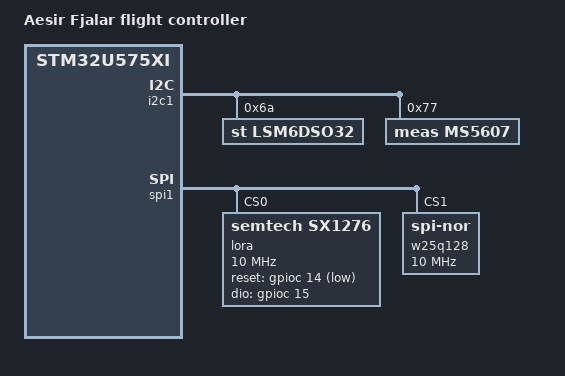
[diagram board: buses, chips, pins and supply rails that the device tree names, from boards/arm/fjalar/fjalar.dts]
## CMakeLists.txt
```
cmake_minimum_required(VERSION 3.20.0)

set(BOARD_ROOT ${CMAKE_CURRENT_LIST_DIR})
list(APPEND EXTRA_ZEPHYR_MODULES
  ${CMAKE_CURRENT_SOURCE_DIR}/modules/dummysensor
  )

find_package(Zephyr REQUIRED HINTS $ENV{ZEPHYR_BASE})
add_subdirectory(lib)

project(fjalar)
target_sources(app PRIVATE
    src/flight_state.c
    src/sensors.c
    src/telecommand.c
    src/telemetry.c
    src/actuation.c
    src/main.c
    src/filter.c
)

# target_link_libraries(app filter) # This line is important to specify MyLib is used by app
```

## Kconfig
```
menu "Zephyr"
source "Kconfig.zephyr"
endmenu

config APP_LOG_LEVEL
    int "Application log level"
    depends on LOG
```

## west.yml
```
manifest:
  remotes:
    - name: zephyrproject-rtos
      url-base: https://github.com/zephyrproject-rtos
  projects:
    - name: zephyr
      remote: zephyrproject-rtos
      revision: v3.4.0
      import: true
    - name: zscilib
      path: modules/lib/zscilib
      revision: 34c3432e81085bb717e4871d21ca419ae0058ec5
      import: true
```

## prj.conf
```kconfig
CONFIG_SENSOR=y

CONFIG_USB_DEVICE_STACK=y
CONFIG_USB_DEVICE_PRODUCT="Fjalar Log"
CONFIG_USB_DEVICE_PID=0x0004

CONFIG_POLL=y

CONFIG_FPU=y
CONFIG_FPU_SHARING=y

CONFIG_APP_LOG_LEVEL=3

CONFIG_ZSL=y
CONFIG_ZSL_SINGLE_PRECISION=y
CONFIG_ZSL_VECTOR_INLINE=y
CONFIG_ZSL_MATRIX_INLINE=y

CONFIG_APP_LOG_LEVEL=3
```

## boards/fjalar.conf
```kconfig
CONFIG_LOG=y
CONFIG_CBPRINTF_FP_SUPPORT=y

CONFIG_SERIAL=y
CONFIG_UART_INTERRUPT_DRIVEN=y
CONFIG_CONSOLE=y
CONFIG_UART_CONSOLE=y

CONFIG_I2C=y

CONFIG_GPIO=y

CONFIG_SENSOR=y
CONFIG_MS5607=y
CONFIG_MS5607_PRES_OVER_2048X=y
CONFIG_MS5607_TEMP_OVER_2048X=y

CONFIG_LSM6DSO=y

CONFIG_SPI=y
CONFIG_FLASH=y

CONFIG_PWM=y
```

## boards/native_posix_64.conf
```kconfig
CONFIG_LOG=y
CONFIG_CBPRINTF_FP_SUPPORT=y

CONFIG_SERIAL=y
CONFIG_CONSOLE=y
CONFIG_UART_CONSOLE=y

CONFIG_I2C=y

CONFIG_SENSOR=y

CONFIG_SPI=y
CONFIG_FLASH=y

CONFIG_DUMMYSENSOR=y

CONFIG_PWM=y

CONFIG_UART_NATIVE_POSIX=y
CONFIG_UART_NATIVE_POSIX_PORT_1_ENABLE=y
# CONFIG_NATIVE_UART_0_ON_OWN_PTY=y
CONFIG_NATIVE_UART_0_ON_STDINOUT=y
CONFIG_SYS_CLOCK_TICKS_PER_SEC=1000

CONFIG_DEBUG=y
CONFIG_DEBUG_OPTIMIZATIONS=y
```

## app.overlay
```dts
&lsm6dso32 {
    gyro-odr = <4>; //104Hz
    accel-odr = <4>; //104Hz
    accel-range = <1>; //16g
    gyro-range = <6>; //2000dps
    accel-pm = <0>; //high performance
    gyro-pm = <0>; //high performance
};
```

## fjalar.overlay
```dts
/ {
    chosen {
        zephyr,console = &cdc_acm_uart0;
        zephyr,shell = &cdc_acm_uart0;
    };

    aliases {
		io-led = &ioled;
        imu = &lsm6dso32;
        barometer = &ms5607;
		main-usb = &usbotg_fs;
		pyro0 = &pyro0;
		pyro1 = &pyro1;
		pyro2 = &pyro2;
		pyro0-sense = &pyro0_sense;
		pyro1-sense = &pyro1_sense;
		pyro2-sense = &pyro2_sense;
    };

    dummysensor: dummysensor {
        compatible = "aesir,dummysensor";
        status = "okay";
    };
};


&lsm6dso32 {
    gyro-odr = <4>; //104Hz
    accel-odr = <4>; //104Hz
    accel-range = <1>; //16g
    gyro-range = <6>; //2000dps
    accel-pm = <0>; //high performance
    gyro-pm = <0>; //high performance
};


&usbotg_fs {
        cdc_acm_uart0: cdc_acm_uart0 {
                compatible = "zephyr,cdc-acm-uart";
                label = "CDC_ACM_0";
        };
};
```

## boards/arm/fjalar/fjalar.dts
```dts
/dts-v1/;

#include <st/u5/stm32u575Xi.dtsi>
#include <st/u5/stm32u575zitxq-pinctrl.dtsi>
#include "fjalar.dtsi"

/ {

    model = "Aesir Fjalar flight controller";
	compatible = "aesir,fjalar";

	#address-cells = <1>;
	#size-cells = <1>;

	chosen {
		zephyr,console = &uart4;
		zephyr,shell-uart = &uart4;
		zephyr,sram = &sram0;
		zephyr,flash = &flash0;
		zephyr,canbus = &can1;
	};

    aliases {
		led0 = &ioled;
		external-uart = &uart4;
		data-flash = &w25q128;
		gps-uart = &usart1;
		buzzer = &pwm_buzzer;
	};
};

&i2c1 {
	lsm6dso32: lsm6dso32@6a {
		status = "okay";
		compatible = "st,lsm6dso32", "st,lsm6dso";
		reg = <0x6a>;
	};

	ms5607: ms5607@77 {
		status = "okay";
		compatible = "meas,ms5607";
		reg = <0x77>;
	};
};

&spi1 {
	lora: lora@0 {
		compatible ="semtech,sx1276";
		reg = <0>;
		spi-max-frequency = <10000000>;
		status = "okay";
		reset-gpios = <&gpioc 14 GPIO_ACTIVE_LOW>;
		dio-gpios = <&gpioc 15 GPIO_ACTIVE_HIGH>;
	};

	w25q128: w25q128@1 {
		compatible ="jedec,spi-nor";
		size = <0x8000000>;
		reg = <1>;
		spi-max-frequency = <10000000>;
		status = "okay";
		jedec-id = [ef 70 18];
	};
};
```

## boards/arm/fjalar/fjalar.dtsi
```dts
#include <st/u5/stm32u575Xi.dtsi>
#include <st/u5/stm32u575zitxq-pinctrl.dtsi>

/ {
	leds {
		compatible = "gpio-leds";
		ioled: io_led {
			gpios = <&gpioa 6 GPIO_ACTIVE_HIGH>;
			label = "IO led";
		};
	};

    pyros {
        compatible = "gpio-leds";
        pyro0: pyro_0 {
            gpios = <&gpiob 13 GPIO_ACTIVE_HIGH>;
        };
        pyro1: pyro_1 {
            gpios = <&gpiob 12 GPIO_ACTIVE_HIGH>;
        };
        pyro2: pyro_2 {
            gpios = <&gpiob 2 GPIO_ACTIVE_HIGH>;
        };
    };
};

&usbotg_fs {
	pinctrl-0 = <&usb_otg_fs_dm_pa11 &usb_otg_fs_dp_pa12>;
	pinctrl-names = "default";
	status = "okay";
};

&usart1 {
	pinctrl-0 = <&usart1_tx_pa9 &usart1_rx_pa10>;
	pinctrl-names = "default";
	current-speed = <9600>;
	status = "okay";
};

&gpdma1 {
	status = "okay";
};

&clk_hsi48 {
	status = "okay";
};

&clk_hse {
	status = "okay";
	clock-frequency = <DT_FREQ_M(48)>;
};

&clk_msis {
	status = "okay";
	msi-range = <4>;
	msi-pll-mode;
};

&pll1 {
	div-m = <3>;
	mul-n = <10>;
	div-q = <2>;
	div-r = <1>;
	clocks = <&clk_hse>;
	status = "okay";
};

&rcc {
	clocks = <&pll1>;
	clock-frequency = <DT_FREQ_M(160)>;
	ahb-prescaler = <1>;
	apb1-prescaler = <1>;
	apb2-prescaler = <1>;
	apb3-prescaler = <1>;
};

&uart4 {
    pinctrl-0 = <&uart4_tx_pa0 &uart4_rx_pa1>;
	pinctrl-names = "default";
	current-speed = <115200>;
	status = "okay";
};

&i2c1 {
	pinctrl-0 = <&i2c1_scl_pb6 &i2c1_sda_pb7>;
	pinctrl-names = "default";
	status = "okay";
	clock-frequency = <I2C_BITRATE_FAST>;
};

&i2c2 {
	pinctrl-0 = <&i2c2_scl_pb10 &i2c2_sda_pb14>;
	pinctrl-names = "default";
	status = "okay";
	clock-frequency = <I2C_BITRATE_FAST>;
};

&spi1 {
	pinctrl-0 = <&spi1_sck_pb3
			&spi1_miso_pb4 &spi1_mosi_pb5>;
	pinctrl-names = "default";
	cs-gpios = <&gpioc 13 GPIO_ACTIVE_LOW>, <&gpioa 15 GPIO_ACTIVE_LOW>;
	clock-frequency = <1000000>;
	status = "okay";
};

&adc1 {
	pinctrl-0 = <&adc1_in15_pb0>;
	pinctrl-names = "default";
	status = "okay";
};

&timers2 {
	st,prescaler = <10000>;
	status = "okay";

	pwm_buzzer: pwm {
	pinctrl-0 = <&tim2_ch4_pa3>;
		pinctrl-names = "default";
		status = "okay";
	};
};

&iwdg {
	status = "okay";
};

&rng {
	status = "okay";
};

&can1 {
	clocks = <&rcc STM32_CLOCK_BUS_APB1_2 0x00000200>,
		 <&rcc STM32_SRC_PLL1_Q FDCAN1_SEL(1)>;
	pinctrl-0 = <&fdcan1_rx_pb8 &fdcan1_tx_pb9>;
	pinctrl-names = "default";
	bus-speed = <125000>;
	bus-speed-data = <1000000>;
	status = "okay";
};
```

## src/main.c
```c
/*
 * Copyright (c) 2012-2014 Wind River Systems, Inc.
 *
 * SPDX-License-Identifier: Apache-2.0
 */

#include <zephyr/kernel.h>
#include <zephyr/drivers/gpio.h>
#include <zephyr/drivers/uart.h>
#include <zephyr/logging/log.h>
#include <zephyr/drivers/sensor.h>
#include <stdio.h>

#include "fjalar.h"
#include "sensors.h"
#include "flight_state.h"

LOG_MODULE_REGISTER(main);

fjalar_t fjalar_god;

int main(void) {
	init_sensors(&fjalar_god);
	init_flight_state(&fjalar_god);
	// int ret = 0;

	// struct sensor_value odr_attr;

	/* set accel/gyro sampling frequency to 12.5 Hz */
	// odr_attr.val1 = 1;
	// odr_attr.val2 = 0;
	// ret = sensor_attr_set(imu_dev, SENSOR_CHAN_ACCEL_XYZ, SENSOR_ATTR_SAMPLING_FREQUENCY, &odr_attr);
	// if (ret) {
	// 	LOG_ERR("Could not set imu accel XYZ odr");
	// }
	// ret = sensor_attr_set(imu_dev, SENSOR_CHAN_GYRO_XYZ, SENSOR_ATTR_SAMPLING_FREQUENCY, &odr_attr);
	// if (ret) {
	// 	LOG_ERR("Could not set imu gyro XYZ odr");
	// }

	// while (1) {
		// struct sensor_value press;
		// struct sensor_value temp;
		// struct sensor_value ax;
		// struct sensor_value ay;
		// struct sensor_value az;
		// struct sensor_value gx;
		// struct sensor_value gy;
		// struct sensor_value gz;

		// sensor_sample_fetch_chan(imu_dev, SENSOR_CHAN_ACCEL_XYZ);
		// sensor_channel_get(imu_dev, SENSOR_CHAN_ACCEL_X, &ax);
		// sensor_channel_get(imu_dev, SENSOR_CHAN_ACCEL_Y, &ay);
		// sensor_channel_get(imu_dev, SENSOR_CHAN_ACCEL_Z, &az);

		// sensor_sample_fetch_chan(imu_dev, SENSOR_CHAN_GYRO_XYZ);
		// sensor_channel_get(imu_dev, SENSOR_CHAN_GYRO_X, &gx);
		// sensor_channel_get(imu_dev, SENSOR_CHAN_GYRO_Y, &gy);
		// sensor_channel_get(imu_dev, SENSOR_CHAN_GYRO_Z, &gz);

		// sensor_sample_fetch_chan(baro_dev, SENSOR_CHAN_ALL);
		// sensor_channel_get(baro_dev, SENSOR_CHAN_PRESS, &press);
		// sensor_channel_get(baro_dev, SENSOR_CHAN_AMBIENT_TEMP, &temp);

		// k_msleep(5000);
		// gpio_pin_set_dt(&pyro0_dt, 1);
		// gpio_pin_set_dt(&pyro1_dt, 1);
		// gpio_pin_set_dt(&pyro2_dt, 1);
		// LOG_ERR("pyros enabled");
		// k_msleep(5000);
		// gpio_pin_set_dt(&pyro0_dt, 0);
		// gpio_pin_set_dt(&pyro1_dt, 0);
		// gpio_pin_set_dt(&pyro2_dt, 0);
		// LOG_ERR("pyros disabled");
		// k_msleep(5000);
		// bool a = gpio_pin_get_dt(&pyro0_sense_dt);
		// bool b = gpio_pin_get_dt(&pyro1_sense_dt);
		// bool c = gpio_pin_get_dt(&pyro2_sense_dt);
		// LOG_ERR("pyros connected? %d %d %d", a, b, c);

		// sensor_channel_get(baro_dev, SENSOR_CHAN_PRESS, &press);
		// sensor_channel_get(baro_dev, SENSOR_CHAN_AMBIENT_TEMP, &temp);
		// sensor_channel_get(baro_dev, SENSOR)

		// printf("accel: %f %f %f\n", sensor_to_float(ax), sensor_to_float(ay), sensor_to_float(az));
		// printf("gyro: %f %f %f\n", sensor_to_float(gx), sensor_to_float(gy), sensor_to_float(gz));
		// printf("temp: %f\n", sensor_to_float(temp));
		// printf("pressure: %f\n", sensor_to_float(press));
	// }
	return 0;
}
```

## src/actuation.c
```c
#include <zephyr/kernel.h>
#include <zephyr/logging/log.h>
#include <zephyr/drivers/gpio.h>

#include "fjalar.h"

LOG_MODULE_REGISTER(actuation, CONFIG_APP_LOG_LEVEL);

void led_thread(fjalar_t *fjalar, void *p2, void *p3) {
    const struct gpio_dt_spec io_led_dt = GPIO_DT_SPEC_GET(DT_ALIAS(io_led), gpios);
    int ret = 0;
    ret |= gpio_pin_configure_dt(&io_led_dt, GPIO_OUTPUT_ACTIVE);
    if (ret) {
        LOG_ERR("Could not configure the IO-led");
    }

    while (true) {
        ret = gpio_pin_toggle_dt(&io_led_dt);
        if (ret) {
            LOG_ERR("Could not toggle LED");
        }
        k_msleep(1000);
    }
}

void buzzer_thread(fjalar_t *fjalar, void *p2, void *p3) {

}

void pyro_thread(fjalar_t *fjalar, void *p2, void *p3) {
    const struct gpio_dt_spec pyro0_dt = GPIO_DT_SPEC_GET(DT_ALIAS(pyro0), gpios);
    const struct gpio_dt_spec pyro1_dt = GPIO_DT_SPEC_GET(DT_ALIAS(pyro1), gpios);
    const struct gpio_dt_spec pyro2_dt = GPIO_DT_SPEC_GET(DT_ALIAS(pyro2), gpios);
    const struct gpio_dt_spec pyro0_sense_dt = GPIO_DT_SPEC_GET(DT_ALIAS(pyro0_sense), gpios);
    const struct gpio_dt_spec pyro1_sense_dt = GPIO_DT_SPEC_GET(DT_ALIAS(pyro1_sense), gpios);
    const struct gpio_dt_spec pyro2_sense_dt = GPIO_DT_SPEC_GET(DT_ALIAS(pyro2_sense), gpios);

    int ret = 0;
    ret |= gpio_pin_set_dt(&pyro0_dt, 0);
    ret |= gpio_pin_set_dt(&pyro1_dt, 0);
    ret |= gpio_pin_set_dt(&pyro2_dt, 0);
    ret |= gpio_pin_configure_dt(&pyro0_dt, GPIO_OUTPUT_ACTIVE);
    ret |= gpio_pin_configure_dt(&pyro1_dt, GPIO_OUTPUT_ACTIVE);
    ret |= gpio_pin_configure_dt(&pyro2_dt, GPIO_OUTPUT_ACTIVE);
    ret |= gpio_pin_set_dt(&pyro0_dt, 0);
    ret |= gpio_pin_set_dt(&pyro1_dt, 0);
    ret |= gpio_pin_set_dt(&pyro2_dt, 0);

    ret |= gpio_pin_configure_dt(&pyro0_sense_dt, GPIO_INPUT);
    ret |= gpio_pin_configure_dt(&pyro1_sense_dt, GPIO_INPUT);
    ret |= gpio_pin_configure_dt(&pyro2_sense_dt, GPIO_INPUT);
    if (ret) {
        LOG_ERR("Could not configure pyro pins");
    }
}
```

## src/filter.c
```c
#include <alloca.h>
#include <string.h>
#include <zsl/matrices.h>
// #include <pla.h>
#include <stdint.h>
#include <zephyr/logging/log.h>
#include "filter.h"

LOG_MODULE_REGISTER(filter, CONFIG_APP_LOG_LEVEL);

window_t window_init(float *values, int size) {
    window_t ret = {
        .values = values,
        .size = size,
        .index = 0,
    };
    return ret;
}

void window_insert(window_t *filter, float value) {
    filter->values[filter->index] = value;
    filter->index = (filter->index + 1) % filter->size;
}

float window_get_median(window_t *filter) {
    float *tmp = alloca(sizeof(float) * filter->size);
    memcpy(tmp, filter->values, sizeof(float) * filter->size);
    for (int i = 1; i < filter->size; i++) {
        float x = tmp[i];
        int j;
        for (j = i - 1; j >= 0 && tmp[j] > x; j--) {
            tmp[j + 1] = tmp[j];
        }
        tmp[j + 1] = x;
    }

    return tmp[filter->size / 2];
}

void window_get_min_max(window_t *filter, float *min, float *max) {
    *min = 1e99;
    *max = -1e99;
    for (int i = 1; i < filter->size; i++) {
        float val = filter->values[i];
        *min = val < *min ? val : *min;
        *max = val > *max ? val : *max;
    }
}

float window_get_oldest(window_t *filter) {
    return filter->values[filter->index];
}

float window_get_newest(window_t *filter) {
    int index = filter->index - 1 >= 0 ? filter->index - 1 : filter->size - 1;
    return filter->values[index];
}

void altitude_filter_init(altitude_filter_t *kf) {
    float process_noise = 0.01;
    float measurement_noise = 10;
    float P_init[9] = {
        process_noise, 0, 0,
        0, process_noise, 0,
        0, 0, process_noise
    };
    kf->P.data = kf->P_data;
    kf->P.sz_rows = 3;
    kf->P.sz_cols = 3;
    memcpy(kf->P_data, P_init, sizeof(P_init));

    float X_init[3] = {
        0,
        0,
        0
    };
    kf->X.data = kf->X_data;
    kf->X.sz_rows = 3;
    kf->X.sz_cols = 1;
    memcpy(kf->X_data, X_init, sizeof(X_init));

    float Q_init[9] = {
        1, 0, 0,
        0, 1, 0,
        0, 0, 1
    };
    kf->Q.data = kf->Q_data;
    kf->Q.sz_rows = 3;
    kf->Q.sz_cols = 3;
    memcpy(kf->Q_data, Q_init, sizeof(Q_init));

    float K_init[9] = {
        1, 0, 0,
        0, 1, 0,
        0, 0, 1
    };
    kf->K.data = kf->K_data;
    kf->K.sz_rows = 3;
    kf->K.sz_cols = 3;
    memcpy(kf->K_data, K_init, sizeof(K_init));

    float R_init[9] = {
        measurement_noise, 0, 0,
        0, measurement_noise, 0,
        0, 0, measurement_noise
    };
    kf->R.data = kf->R_data;
    kf->R.sz_rows = 3;
    kf->R.sz_cols = 3;
    memcpy(kf->R_data, R_init, sizeof(R_init));
    kf->seeded = false;
}

void altitude_filter_update(altitude_filter_t *kf, float value, uint32_t time) {
    if (!kf->seeded) {
        kf->X_data[0] = value;
        kf->previous_update = time;
        kf->seeded = true;
        return;
    }

    float dt = (time - kf->previous_update) / 1000.0;
    kf->previous_update = time;

    zsl_real_t A_data[9] = {
        1, dt, dt * dt / 2,
        0, 1, dt,
        0, 0, 1
    };
    struct zsl_mtx A = {
        .sz_rows = 3,
        .sz_cols = 3,
        .data = A_data,
    };

    zsl_real_t At_data[9] = {
        1, 0, 0,
        dt, 1, 0,
        dt * dt / 2, dt, 1
    };
    struct zsl_mtx At = {
        .sz_rows = 3,
        .sz_cols = 3,
        .data = At_data,
    };

    zsl_real_t Z_data[3] = {
        value, 0, 0,
    };
    struct zsl_mtx Z = {
        .sz_rows = 3,
        .sz_cols = 1,
        .data = Z_data
    };

    zsl_real_t H_data[9] = {
        1, 0, 0,
        0, 0, 0,
        0, 0, 0
    };
    struct zsl_mtx H = {
        .sz_rows = 3,
        .sz_cols = 3,
        .data = H_data,
    };
    struct zsl_mtx Ht = H;

    zsl_real_t Pp_data[9] = {
        0, 0, 0,
        0, 0, 0,
        0, 0, 0
    };
    struct zsl_mtx Pp = {
        .sz_rows = 3,
        .sz_cols = 3,
        .data = Pp_data,
    };

    zsl_real_t Xp_data[3];
    struct zsl_mtx Xp = {
        .sz_rows = 3,
        .sz_cols = 1,
        .data = Xp_data,
    };

    zsl_real_t I_data[9] = {
        1, 0, 0,
        0, 1, 0,
        0, 0, 1
    };
    struct zsl_mtx I = {
        .sz_rows = 3,
        .sz_cols = 3,
        .data = I_data,
    };


    // predict state
    zsl_mtx_mult(&A, &kf->X, &Xp);

    // predict covariance
    ZSL_MATRIX_DEF(P_At, 3, 3);
    zsl_mtx_mult(&kf->P, &At, &P_At);
    ZSL_MATRIX_DEF(A_P_At, 3, 3);
    zsl_mtx_mult(&A, &P_At, &A_P_At);
    zsl_mtx_add(&A_P_At, &kf->Q, &Pp);

    // update kalman gain (should be constant so can move to init)
    ZSL_MATRIX_DEF(Pp_Ht, 3, 3);
    zsl_mtx_mult(&Pp, &Ht, &Pp_Ht);
    ZSL_MATRIX_DEF(H_Pp_Ht, 3, 3);
    zsl_mtx_mult(&H, &Pp_Ht, &H_Pp_Ht);
    ZSL_MATRIX_DEF(H_Pp_Ht_ADD_R, 3, 3);
    zsl_mtx_add(&H_Pp_Ht, &kf->R, &H_Pp_Ht_ADD_R);
    ZSL_MATRIX_DEF(H_Pp_Ht_ADD_R_INV, 3, 3);
    zsl_mtx_inv_3x3(&H_Pp_Ht_ADD_R, &H_Pp_Ht_ADD_R_INV);
    ZSL_MATRIX_DEF(Ht_H_Pp_Ht_ADD_R_INV, 3, 3);
    zsl_mtx_mult(&Ht, &H_Pp_Ht_ADD_R_INV, &Ht_H_Pp_Ht_ADD_R_INV);
    zsl_mtx_mult(&Pp, &Ht_H_Pp_Ht_ADD_R_INV, &kf->K);
    // LOG_INF("K %f %f %f %f %f %f %f %f %f", kf->K_data[0],kf->K_data[1],kf->K_data[2],kf->K_data[3],kf->K_data[4],kf->K_data[5],kf->K_data[6],kf->K_data[7],kf->K_data[8]);
    // update state
    ZSL_MATRIX_DEF(H_Xp, 3, 1);
    zsl_mtx_mult(&H, &Xp, &H_Xp);
    ZSL_MATRIX_DEF(Z_SUB_H_Xp, 3, 1);
    zsl_mtx_sub(&Z, &H_Xp, &Z_SUB_H_Xp);
    ZSL_MATRIX_DEF(K_Z_SUB_H_Xp, 3, 1);
    zsl_mtx_mult(&kf->K, &Z_SUB_H_Xp, &K_Z_SUB_H_Xp);
    zsl_mtx_add(&Xp, &K_Z_SUB_H_Xp, &kf->X);

    // update covariance
    ZSL_MATRIX_DEF(K_H, 3, 3);
    zsl_mtx_mult(&kf->K, &H, &K_H);
    ZSL_MATRIX_DEF(I_SUB_K_H, 3, 3);
    zsl_mtx_sub(&I, &K_H, &I_SUB_K_H);
    zsl_mtx_mult(&I_SUB_K_H, &Pp, &kf->P);
}

float altitude_filter_get_altitude(altitude_filter_t *kf) {
    return kf->X_data[0];
}

float altitude_filter_get_velocity(altitude_filter_t *kf) {
    return kf->X_data[1];
}
```

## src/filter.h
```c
#pragma once

#include <alloca.h>
#include <zsl/matrices.h>

typedef struct {
    float *values;
    int size;
    int index;
} window_t;
window_t window_init(float *values, int size);
void window_insert(window_t * filter, float value);
float window_get_median(window_t * filter);
void window_get_min_max(window_t * filter, float *min, float *max);
float window_get_newest(window_t *filter);
float window_get_oldest(window_t *filter);


typedef struct altitude_filter {
    zsl_real_t P_data[9];
    struct zsl_mtx P;
    zsl_real_t X_data[3];
    struct zsl_mtx X;
    zsl_real_t Q_data[9];
    struct zsl_mtx Q;
    zsl_real_t K_data[9];
    struct zsl_mtx K;
    zsl_real_t R_data[9];
    struct zsl_mtx R;
    uint32_t previous_update;
    bool seeded;
} altitude_filter_t;

void altitude_filter_init(altitude_filter_t *kf);

void altitude_filter_update(altitude_filter_t *kf, float value, uint32_t time);

float altitude_filter_get_altitude(altitude_filter_t *kf);

float altitude_filter_get_velocity(altitude_filter_t *kf);
```

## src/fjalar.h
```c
#pragma once
#define DT_ALIAS_EXISTS(alias) DT_NODE_EXISTS(DT_ALIAS(alias))

enum flight_state {
    STATE_LAUNCHPAD,
    STATE_BOOST,
    STATE_COAST,
    STATE_FREE_FALL,
    STATE_DROGUE_DESCENT,
    STATE_MAIN_DESCENT,
    STATE_LANDED,
};

enum flight_event {
    EVENT_LAUNCH,
    EVENT_BURNOUT,
    EVENT_APOGEE,
    EVENT_PRIMARY_DEPLOY,
    EVENT_SECONDARY_DEPLOY,
    EVENT_LANDED
};

typedef struct {
    enum flight_state flight_state;
    float altitude;
    float ground_level;
    float velocity;
} fjalar_t;

extern fjalar_t fjalar_god;
```

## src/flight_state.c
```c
#include <zephyr/kernel.h>
#include <zephyr/logging/log.h>
#include <pla.h>

#include "fjalar.h"
#include "sensors.h"
#include "filter.h"

LOG_MODULE_REGISTER(flight, CONFIG_APP_LOG_LEVEL);

#define FLIGHT_THREAD_PRIORITY 7
#define FLIGHT_THREAD_STACK_SIZE 1024

#define ALTITUDE_PRIMARY_WINDOW_SIZE 5
#define ALTITUDE_SECONDARY_WINDOW_SIZE 40

#define IMU_PRIMARY_WINDOW_SIZE 5

void flight_state_thread(fjalar_t *fjalar, void *p2, void *p1);

K_THREAD_STACK_DEFINE(flight_thread_stack, FLIGHT_THREAD_STACK_SIZE);
struct k_thread flight_thread_data;
k_tid_t flight_thread_id;

void init_flight_state(fjalar_t *fjalar) {
    flight_thread_id = k_thread_create(
		&flight_thread_data,
		flight_thread_stack,
		K_THREAD_STACK_SIZEOF(flight_thread_stack),
		(k_thread_entry_t) flight_state_thread,
		fjalar, NULL, NULL,
		FLIGHT_THREAD_PRIORITY, 0, K_NO_WAIT
	);
}

static float pressure_to_altitude(float pressure) {
    return pow(1013.5 / (double) pressure * 10.0 - 1.0, 1.0 / 5.257) * (20.0 + 273.15) / 0.0065;
}

void flight_state_thread(fjalar_t *fjalar, void *p2, void *p1) {
    struct k_poll_event events[2] = {
        K_POLL_EVENT_INITIALIZER(K_POLL_TYPE_MSGQ_DATA_AVAILABLE,
                                        K_POLL_MODE_NOTIFY_ONLY,
                                        &pressure_msgq),
        K_POLL_EVENT_INITIALIZER(K_POLL_TYPE_MSGQ_DATA_AVAILABLE,
                                        K_POLL_MODE_NOTIFY_ONLY,
                                        &imu_msgq),
    };

    altitude_filter_t altitude_filter;
    altitude_filter_init(&altitude_filter);
    struct pressure_queue_entry pressure;
    struct imu_queue_entry imu;

    k_poll(&events[0], 1, K_FOREVER);
    k_poll(&events[1], 1, K_FOREVER);
    events[0].state = K_POLL_STATE_NOT_READY;
    events[1].state = K_POLL_STATE_NOT_READY;
    if (k_msgq_get(&imu_msgq, &imu, K_NO_WAIT) != 0) {
        LOG_ERR("Could not get initial imu value");
    }
    if (k_msgq_get(&pressure_msgq, &pressure, K_NO_WAIT) != 0) {
        LOG_ERR("Could not get initial pressure value");
    }

    while (true) {
        if (k_poll(events, 2, K_MSEC(1000))) {
            LOG_ERR("Stopped receiving measurements");
        }

        if (k_msgq_get(&pressure_msgq, &pressure, K_NO_WAIT) == 0) {
            events[0].state = K_POLL_STATE_NOT_READY;
            float raw_altitude = pressure_to_altitude(pressure.pressure);
            altitude_filter_update(&altitude_filter, raw_altitude, pressure.t);
            fjalar->altitude = altitude_filter_get_altitude(&altitude_filter);
            fjalar->velocity = altitude_filter_get_velocity(&altitude_filter);
            if (fjalar->flight_state == STATE_LAUNCHPAD) {
                fjalar->ground_level = fjalar->altitude;
            }
            LOG_INF("estimated altitude: %f", fjalar->altitude - fjalar->ground_level);
            LOG_INF("estimated velocity: %f", fjalar->velocity);

            if (fjalar->velocity < 0 && fjalar->flight_state != STATE_LAUNCHPAD) {
                LOG_INF("Apogee!");
            }
        }
        if (k_msgq_get(&imu_msgq, &imu, K_NO_WAIT) == 0) {
            events[1].state = K_POLL_STATE_NOT_READY;
            vec3 vec = {imu.ax, imu.ay, imu.az};
            if (vec3_norm(vec) > 12.0) {
                fjalar->flight_state = STATE_BOOST;
            }
        }
    }
}
```

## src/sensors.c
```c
#include <zephyr/kernel.h>
#include <zephyr/drivers/uart.h>
#include <zephyr/drivers/sensor.h>
#include <zephyr/logging/log.h>

#include "fjalar.h"
#include "sensors.h"

LOG_MODULE_REGISTER(sensors, CONFIG_APP_LOG_LEVEL);

#define IMU_THREAD_PRIORITY 7
#define IMU_THREAD_STACK_SIZE 1024

#define BAROMETER_THREAD_PRIORITY 7
#define BAROMETER_THREAD_STACK_SIZE 1024

#define GPS_THREAD_PRIORITY 7
#define GPS_THREAD_STACK_SIZE 1024

void barometer_thread(fjalar_t *fjalar, void *p2, void *p3);
void imu_thread(fjalar_t *fjalar, void *p2, void *p3);
void gps_thread(fjalar_t *fjalar, void *p2, void *p3);

K_MSGQ_DEFINE(pressure_msgq, sizeof(struct pressure_queue_entry), 3, 4);
K_MSGQ_DEFINE(imu_msgq, sizeof(struct imu_queue_entry), 3, 4);

K_THREAD_STACK_DEFINE(barometer_thread_stack, BAROMETER_THREAD_STACK_SIZE);
struct k_thread barometer_thread_data;
k_tid_t barometer_thread_id;

K_THREAD_STACK_DEFINE(imu_thread_stack, IMU_THREAD_STACK_SIZE);
struct k_thread imu_thread_data;
k_tid_t imu_thread_id;

#if DT_ALIAS_EXISTS(gps_uart)
K_THREAD_STACK_DEFINE(gps_thread_stack, GPS_THREAD_STACK_SIZE);
struct k_thread gps_thread_data;
k_tid_t gps_thread_id;
#endif

void init_sensors(fjalar_t *fjalar) {
	barometer_thread_id = k_thread_create(
		&barometer_thread_data,
		barometer_thread_stack,
		K_THREAD_STACK_SIZEOF(barometer_thread_stack),
		(k_thread_entry_t) barometer_thread,
		fjalar, NULL, NULL,
		BAROMETER_THREAD_PRIORITY, 0, K_NO_WAIT
	);

	imu_thread_id = k_thread_create(
		&imu_thread_data,
		imu_thread_stack,
		K_THREAD_STACK_SIZEOF(imu_thread_stack),
		(k_thread_entry_t) imu_thread,
		fjalar, NULL, NULL,
		IMU_THREAD_PRIORITY, 0, K_NO_WAIT
	);
}

void imu_thread(fjalar_t *fjalar, void *p2, void *p3) {
    const struct device *const imu_dev = DEVICE_DT_GET(DT_ALIAS(imu));
    if (!device_is_ready(imu_dev)) {
		LOG_ERR("imu is not ready");
		return;
	}
	while (true) {
		int ret = 0;
		k_msleep(10);
		ret = sensor_sample_fetch(imu_dev);
		if (ret != 0) {
			LOG_ERR("Could not fetch imu sample");
		}

		struct sensor_value ax;
		struct sensor_value ay;
		struct sensor_value az;

		struct sensor_value gx;
		struct sensor_value gy;
		struct sensor_value gz;

		ret = sensor_channel_get(imu_dev, SENSOR_CHAN_ACCEL_X, &ax);
		ret = sensor_channel_get(imu_dev, SENSOR_CHAN_ACCEL_Y, &ay);
		ret = sensor_channel_get(imu_dev, SENSOR_CHAN_ACCEL_Z, &az);

		ret = sensor_channel_get(imu_dev, SENSOR_CHAN_GYRO_X, &gx);
		ret = sensor_channel_get(imu_dev, SENSOR_CHAN_GYRO_Y, &gy);
		ret = sensor_channel_get(imu_dev, SENSOR_CHAN_GYRO_Z, &gz);

		if (ret != 0) {
			LOG_ERR("Could get imu values");
		}

		LOG_DBG("read imu: %f %f %f %f %f %f",
			sensor_value_to_float(&ax), sensor_value_to_float(&ay), sensor_value_to_float(&az),
			sensor_value_to_float(&gx), sensor_value_to_float(&gy), sensor_value_to_float(&gz)
		);

		struct imu_queue_entry msg = {
			.t = k_uptime_get_32(),
			.ax = sensor_value_to_float(&ax),
			.ay = sensor_value_to_float(&ay),
			.az = sensor_value_to_float(&az),
			.gx = sensor_value_to_float(&gx),
			.gy = sensor_value_to_float(&gy),
			.gz = sensor_value_to_float(&gz)
		};
		ret = k_msgq_put(&imu_msgq, &msg, K_NO_WAIT);
		if (ret != 0) {
			LOG_ERR("Could not write to imu msgq");
		}
	}
}

void barometer_thread(fjalar_t *fjalar, void *p2, void *p3) {
    const struct device *const baro_dev = DEVICE_DT_GET(DT_ALIAS(barometer));
    if (!device_is_ready(baro_dev)) {
		LOG_ERR("barometer is not ready");
		return;
	}

	while (true) {
		int ret = 0;
		k_msleep(5);
		ret = sensor_sample_fetch(baro_dev);
		if (ret != 0) {
			LOG_ERR("Could not fetch barometer sample");
		}
		struct sensor_value pressure;
		ret = sensor_channel_get(baro_dev, SENSOR_CHAN_PRESS, &pressure);
		if (ret != 0) {
			LOG_ERR("Could not get barometer pressure");
		}
		LOG_DBG("read pressure: %f", sensor_value_to_float(&pressure));
		struct pressure_queue_entry msg;
		msg.t = k_uptime_get_32();
		msg.pressure = sensor_value_to_float(&pressure);
		ret = k_msgq_put(&pressure_msgq, &msg, K_NO_WAIT);
		if (ret != 0) {
			LOG_ERR("Could not write to pressure msgq");
		}
	}
}

#if DT_NODE_EXISTS(DT_ALIAS(gps_uart))
void gps_uart_cb(const struct device *dev, void *user_data) {
	uint8_t buf[256];
	int len = 0;

	if (!uart_irq_update(dev)) {
		return;
	}

	if (!uart_irq_rx_ready(dev)) {
		return;
	}

	/* read until FIFO empty */
	len = uart_fifo_read(dev, buf, sizeof(buf));
	// printk("%.*s", len, buf);
}

void gps_thread(fjalar_t *fjalar, void *p2, void *p3) {
    const struct device *const gps_dev = DEVICE_DT_GET(DT_ALIAS(gps_uart));
    if (!device_is_ready(gps_dev)) {
		LOG_ERR("gps is not ready");
		return;
	}
    int ret;
    struct uart_config uart_config = {
		.baudrate = 9600,
		.data_bits = UART_CFG_DATA_BITS_8,
		.flow_ctrl = UART_CFG_FLOW_CTRL_NONE,
		.parity = UART_CFG_PARITY_NONE,
		.stop_bits = UART_CFG_STOP_BITS_1
	};
	ret = uart_configure(gps_dev, &uart_config);
	uart_irq_callback_set(gps_dev, gps_uart_cb);
	uart_irq_rx_enable(gps_dev);

	const char pulse_msg[] = "$PQ1PPS,W,3,50*2E0\r\n";
	for (int i = 0; i < strlen(pulse_msg); i++) {
		uart_poll_out(gps_dev, pulse_msg[i]);
	}
	if (ret < 0) {
		return;
	}
}
#endif //DT_HAS_ALIAS(gps_uart)
```

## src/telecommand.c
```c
#include <zephyr/kernel.h>
#include <zephyr/logging/log.h>

#include "fjalar.h"


LOG_MODULE_REGISTER(TC, CONFIG_APP_LOG_LEVEL);

void telecommand_thread(fjalar_t *fjalar) {

}
```

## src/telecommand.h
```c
#pragma once

#include "fjalar.h"

void telecommand_thread(fjalar_t *fjalar);
```

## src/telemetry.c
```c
#include <zephyr/kernel.h>
#include <zephyr/logging/log.h>
#include <zephyr/drivers/flash.h>

#include "fjalar.h"

LOG_MODULE_REGISTER(TM, CONFIG_APP_LOG_LEVEL);

#if DT_ALIAS_EXISTS(data_flash)
void telemetry_flash_thread(fjalar_t *fjalar, void *p2, void *p3) {
	const struct device *flash_dev = DEVICE_DT_GET(DT_ALIAS(data_flash));

    if (!device_is_ready(flash_dev)) {
		LOG_ERR("Flash not ready");
		return 0;
	}
}
#endif
```

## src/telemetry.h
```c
#pragma once

#include "fjalar.h"

void telemetry_thread(fjalar_t *fjalar, void *p2, void *p3);
```
